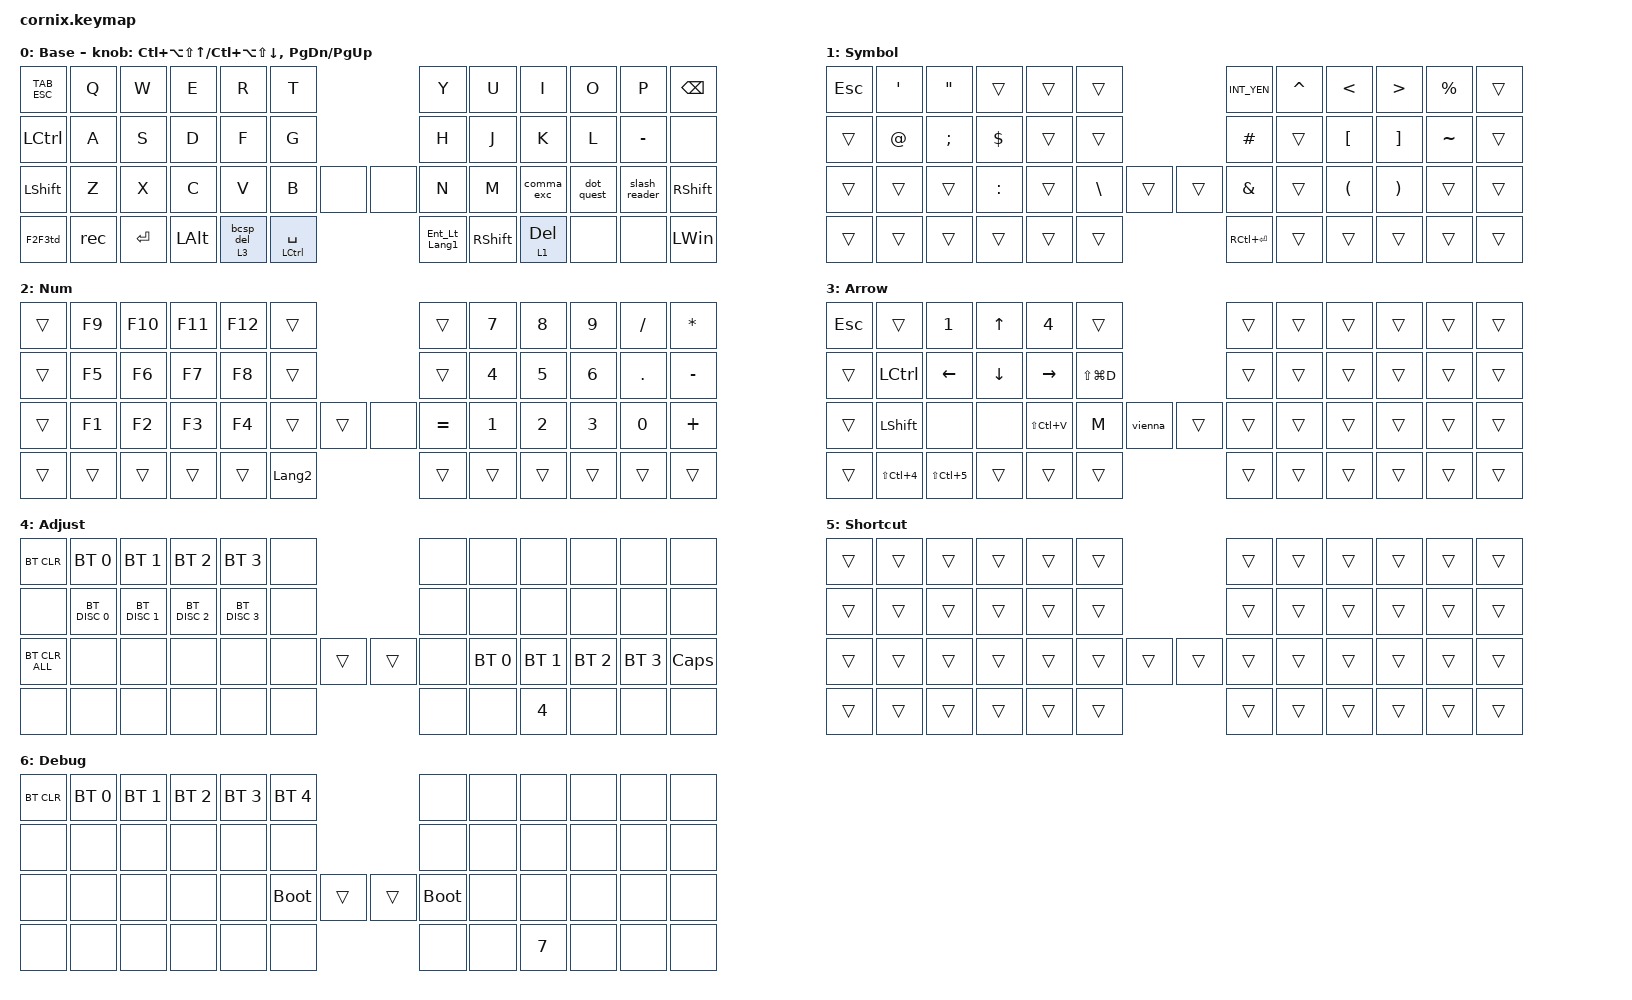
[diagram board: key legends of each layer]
/*
 * Copyright (c) 2020 The ZMK Contributors
 *
 * SPDX-License-Identifier: MIT
 */

#include "zmk-helpers/helper.h"
#include "includes/cornix54.h"

// tap windows for ctl alt and gui

#define HM_TAPPING_TERM 250
#define HM_TAPPING_REPEAT 210

// quick tapping for shift

#define HM_TAPPING_TERM_FAST 200
#define HM_PRIOR_IDLE 70
#define BASE 0
#define WIN 1
#define LOWER 2
#define RAISE 3
#define ADJUST 4
#define NAVI   5
#define NUM    6
#define DEBUG  7

// https://github.com/urob/zmk-config/tree/main#timeless-homerow-mods

#define KEYS_L LT0 LT1 LT2 LT3 LT4 LT5 LM0 LM1 LM2 LM3 LM4 LM5 LB0 LB1 LB2 LB3 LB4 LB5  // left hand
#define KEYS_R RT0 RT1 RT2 RT3 RT4 RT5 RM0 RM1 RM2 RM3 RM4 RM5 RB0 RB1 RB2 RB3 RB4 RB5  // right hand
#define THUMBS LH1 LH0 RH0 RH1
#define KEYS_T LH1 LH0 RH0 RH1
#define ZMK_POINTING_DEFAULT_SCRL_VAL 15

#include <behaviors.dtsi>
#include <dt-bindings/zmk/bt.h>
#include <dt-bindings/zmk/keys.h>

/ {
    // Activate ADJUST layer by pressing raise and lower

    behaviors {
        // Positional Homerow mods for shift
        // Use faster tapping term and disable some features that may
        // cause false negatives.
        /*
         * Non-Positional Homerow Mods
         * Used for &mm_grescm_gui behavior on left hand.
         *
         * Usage: &hm LSHFT T
         * Tap: T
         * Tap-Tap-Hold: Repeat T
         * Hold: LSHIFT
         */

        lt: layer_tap {
            compatible = "zmk,behavior-hold-tap";
            #binding-cells = <2>;
            bindings = <&mo>, <&kp>;

            flavor = "hold-preferred";
            tapping-term-ms = <180>;
            quick-tap-ms = <200>;
        };

        F2F3td: F2F3td {
            compatible = "zmk,behavior-tap-dance";
            label = "F2F3TD";
            #binding-cells = <0>;
            bindings = <&kp F3>, <&kp F2>;
        };

        rec: rec {
            compatible = "zmk,behavior-tap-dance";
            label = "REC";
            #binding-cells = <0>;
            bindings = <&kp KP_ASTERISK>, <&rerec>;
        };

        comma_exc: comma_exc {
            compatible = "zmk,behavior-mod-morph";
            label = "COMMA_EXC";
            bindings = <&kp COMMA>, <&kp EXCLAMATION>;

            #binding-cells = <0>;
            mods = <(MOD_LSFT|MOD_RSFT)>;
        };

        dot_quest: dot_quest {
            compatible = "zmk,behavior-mod-morph";
            label = "DOT_QUEST";
            bindings = <&kp PERIOD>, <&kp QUESTION>;

            #binding-cells = <0>;
            mods = <(MOD_LSFT|MOD_RSFT)>;
        };

        bcsp_del: bcsp_del {
            compatible = "zmk,behavior-mod-morph";
            label = "BCSP_DEL";
            bindings = <&kp BACKSPACE>, <&kp DEL>;

            #binding-cells = <0>;
            mods = <(MOD_LSFT|MOD_RSFT)>;
        };

        Bs_LT: Bs_LT {
            compatible = "zmk,behavior-hold-tap";
            label = "BS_LT";
            bindings = <&mo>, <&bcsp_del>;

            #binding-cells = <2>;
            tapping-term-ms = <180>;
            quick-tap-ms = <200>;
        };

        Ent_Lt_Lang1: Ent_Lt_Lang1 {
            compatible = "zmk,behavior-mod-morph";
            label = "ENT_LT_LANG1";
            bindings = <&lt 2 ENTER>, <&kp LANG1>;

            #binding-cells = <0>;
            mods = <(MOD_LCTL)>;
        };

        TAB_ESC: TAB_ESC {
            compatible = "zmk,behavior-mod-morph";
            label = "TAB_ESC";
            bindings = <&kp TAB>, <&kp ESCAPE>;

            #binding-cells = <0>;
            mods = <(MOD_LCTL)>;
        };

        slash_reader: slash_reader {
            compatible = "zmk,behavior-mod-morph";
            label = "SLASH_READER";
            bindings = <&kp SLASH>, <&Three_reader>;

            #binding-cells = <0>;
            mods = <(MOD_LSFT|MOD_RSFT)>;
        };
    };

    conditional_layers { compatible = "zmk,conditional-layers"; };

    combos {
        compatible = "zmk,combos";

        toBT {
            bindings = <&mo 4>;
            key-positions = <5 29>;
        };
    };

    macros {
        rerec: rerec {
            compatible = "zmk,behavior-macro";
            #binding-cells = <0>;
            bindings = <&kp LC(Z) &kp F13>;
            label = "REREC";
            wait-ms = <0>;
            tap-ms = <5>;
        };

        vienna: vienna {
            compatible = "zmk,behavior-macro";
            #binding-cells = <0>;
            bindings = <&kp LANG2 &kp N1 &kp N9 &kp N2 &kp DOT &kp N1 &kp N6 &kp N8 &kp DOT &kp N3 &kp DOT &kp N3 &kp N2>;
            label = "VIENNA";
            wait-ms = <0>;
            tap-ms = <5>;
        };

        Three_reader: Three_reader {
            compatible = "zmk,behavior-macro";
            #binding-cells = <0>;
            bindings = <&kp LANG1 &kp FSLH &kp FSLH &kp FSLH>;
            label = "THREE_READER";
            wait-ms = <0>;
            tap-ms = <5>;
        };
    };

    keymap {
        compatible = "zmk,keymap";

        default_layer {
            display-name = "Base";

            // ------------------------------------------------------------------------------------------------------------
            // |   `   |  1  |  2  |  3   |  4   |  5   |                   |  6   |  7    |  8    |  9   |   0   |       |
            // |  ESC  |  Q  |  W  |  E   |  R   |  T   |                   |  Y   |  U    |  I    |  O   |   P   | BKSPC |
            // |  TAB  |  A  |  S  |  D   |  F   |  G   |                   |  H   |  J    |  K    |  L   |   ;   |   '   |
            // | SHIFT |  Z  |  X  |  C   |  V   |  B   |  MUTE  |  |       |  N   |  M    |  ,    |  .   |   /   | SHIFT |
            //               | GUI | ALT  | CTRL | LOWER|  ENTER |  | SPACE | RAISE| CTRL  | ALT   | GUI  |

            bindings = <
&TAB_ESC        &kp Q  &kp W      &kp E         &kp R       &kp T                          &kp Y          &kp U            &kp I       &kp O       &kp P          &kp BACKSPACE
&kp LCTRL       &kp A  &kp S      &kp D         &kp F       &kp G                          &kp H          &kp J            &kp K       &kp L       &kp MINUS      &none
&kp LEFT_SHIFT  &kp Z  &kp X      &kp C         &kp V       &kp B            &none  &none  &kp N          &kp M            &comma_exc  &dot_quest  &slash_reader  &kp RIGHT_SHIFT
&F2F3td         &rec   &kp ENTER  &kp LEFT_ALT  &Bs_LT 3 0  &mt LCTRL SPACE                &Ent_Lt_Lang1  &kp RIGHT_SHIFT  &lt 1 DEL   &none       &none          &kp LEFT_WIN
            >;

            sensor-bindings =
                <&inc_dec_kp LC(LA(LS(UP_ARROW))) LC(LA(LS(DOWN_ARROW)))>,
                <&inc_dec_kp PAGE_DOWN PAGE_UP>;
        };

        Symbol {
            bindings = <
&kp ESC  &kp SINGLE_QUOTE  &kp DOUBLE_QUOTES  &trans      &trans  &trans                         &kp INT_YEN    &kp CARET  &kp LESS_THAN         &kp GREATER_THAN       &kp PERCENT  &trans
&trans   &kp AT            &kp SEMICOLON      &kp DOLLAR  &trans  &trans                         &kp HASH       &trans     &kp LEFT_BRACKET      &kp RIGHT_BRACKET      &kp TILDE    &trans
&trans   &trans            &trans             &kp COLON   &trans  &kp BACKSLASH  &trans  &trans  &kp AMPERSAND  &trans     &kp LEFT_PARENTHESIS  &kp RIGHT_PARENTHESIS  &trans       &trans
&trans   &trans            &trans             &trans      &trans  &trans                         &kp RC(ENTER)  &trans     &trans                &trans                 &trans       &trans
            >;
        };

        Num {
            bindings = <
&trans  &kp F9  &kp F10  &kp F11  &kp F12  &trans                         &trans     &kp N7  &kp N8  &kp N9  &kp SLASH  &kp ASTRK
&trans  &kp F5  &kp F6   &kp F7   &kp F8   &trans                         &trans     &kp N4  &kp N5  &kp N6  &kp DOT    &kp MINUS
&trans  &kp F1  &kp F2   &kp F3   &kp F4   &trans          &trans  &none  &kp EQUAL  &kp N1  &kp N2  &kp N3  &kp N0     &kp PLUS
&trans  &trans  &trans   &trans   &trans   &kp LANGUAGE_2                 &trans     &trans  &trans  &trans  &trans     &trans
            >;
        };

        Arrow {
            bindings = <
&kp ESC  &trans          &kp NUMBER_1    &kp UP_ARROW    &kp NUMBER_4     &trans                          &trans  &trans  &trans  &trans  &trans  &trans
&trans   &kp LCTRL       &kp LEFT_ARROW  &kp DOWN_ARROW  &kp RIGHT_ARROW  &kp LS(LG(D))                   &trans  &trans  &trans  &trans  &trans  &trans
&trans   &kp LEFT_SHIFT  &none           &none           &kp LS(LC(V))    &kp M          &vienna  &trans  &trans  &trans  &trans  &trans  &trans  &trans
&trans   &kp LS(LC(N4))  &kp LS(LC(N5))  &trans          &trans           &trans                          &trans  &trans  &trans  &trans  &trans  &trans
            >;
        };

        Bluetooth {
            display-name = "Adjust";

            // ----------------------------------------------------------------------------------------------------------------------------
            // | BTCLR  |  BT1    |  BT2    |   BT3   |   BT4   |   BT5   |                  |      |      |       |      |       |       |
            // | moDEBUG| RGB_HUD | RGB_HUI | RGB_SAD | RGB_SAI | RGB_EFF |                  |      |      |       |      |       |       |
            // | EXTPWR | RGB_BRD | RGB_BRI |         |         |         |                  |      |      |       |      |       |       |
            // |        |         |         |         |         |         | RGB_TOG | |      |      |      |       |      |       |       |
            //                    |         |         |         |         |         | |      |      |      |       |      |

            bindings = <
&bt BT_CLR      &bt BT_SEL 0   &bt BT_SEL 1   &bt BT_SEL 2   &bt BT_SEL 3   &none                  &none  &none         &none         &none         &none         &none
&none           &bt BT_DISC 0  &bt BT_DISC 1  &bt BT_DISC 2  &bt BT_DISC 3  &none                  &none  &none         &none         &none         &none         &none
&bt BT_CLR_ALL  &none          &none          &none          &none          &none  &trans  &trans  &none  &bt BT_SEL 0  &bt BT_SEL 1  &bt BT_SEL 2  &bt BT_SEL 3  &kp CAPSLOCK
&none           &none          &none          &none          &none          &none                  &none  &none         &kp N4        &none         &none         &none
            >;
        };

        Shortcut {
            bindings = <
&trans  &trans  &trans  &trans  &trans  &trans                  &trans  &trans  &trans  &trans  &trans  &trans
&trans  &trans  &trans  &trans  &trans  &trans                  &trans  &trans  &trans  &trans  &trans  &trans
&trans  &trans  &trans  &trans  &trans  &trans  &trans  &trans  &trans  &trans  &trans  &trans  &trans  &trans
&trans  &trans  &trans  &trans  &trans  &trans                  &trans  &trans  &trans  &trans  &trans  &trans
            >;
        };

        Debug_layer {
            display-name = "Debug";

            // ----------------------------------------------------------------------------------------------------------------------------
            // | BTCLR  |  BT1    |  BT2    |   BT3   |   BT4   |   BT5   |                  |      |      |       |      |       |       |
            // | EXTPWR | BTCLR | RGB_HUI | RGB_SAD | RGB_SAI | RGB_EFF |                  |      |      |       |      |       |       |
            // |        | RGB_BRD | RGB_BRI |         |         |         |                  |      |      |       |      |       |       |
            // |        |         |         |         |         |         | RGB_TOG | |      |      |      |       |      |       |       |
            //                    |         |         |         |         |         | |      |      |      |       |      |

            bindings = <
&bt BT_CLR  &bt BT_SEL 0  &bt BT_SEL 1  &bt BT_SEL 2  &bt BT_SEL 3  &bt BT_SEL 4                  &none        &none  &none   &none  &none  &none
&none       &none         &none         &none         &none         &none                         &none        &none  &none   &none  &none  &none
&none       &none         &none         &none         &none         &bootloader   &trans  &trans  &bootloader  &none  &none   &none  &none  &none
&none       &none         &none         &none         &none         &none                         &none        &none  &kp N7  &none  &none  &none
            >;
        };
    };
};
